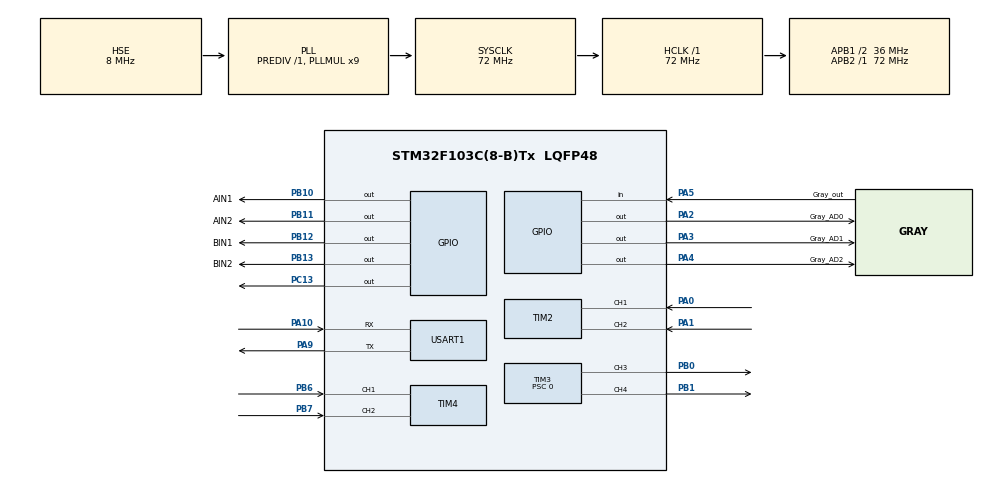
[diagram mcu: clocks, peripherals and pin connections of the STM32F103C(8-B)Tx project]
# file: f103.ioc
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Mcu.Family=STM32F1
Mcu.Name=STM32F103C(8-B)Tx
Mcu.Package=LQFP48
NVIC.PriorityGroup=NVIC_PRIORITYGROUP_4
PA0-WKUP.Signal=S_TIM2_CH1_ETR
PA1.Signal=S_TIM2_CH2
PA10.Mode=Asynchronous
PA10.Signal=USART1_RX
PA13.Mode=Serial_Wire
PA13.Signal=SYS_JTMS-SWDIO
PA14.Mode=Serial_Wire
PA14.Signal=SYS_JTCK-SWCLK
PA2.GPIO_Label=Gray_AD0
PA2.Signal=GPIO_Output
PA3.GPIO_Label=Gray_AD1
PA3.Signal=GPIO_Output
PA4.GPIO_Label=Gray_AD2
PA4.PinState=GPIO_PIN_RESET
PA4.Signal=GPIO_Output
PA5.GPIO_Label=Gray_out
PA5.Signal=GPIO_Input
PA9.Mode=Asynchronous
PA9.Signal=USART1_TX
PB0.Signal=S_TIM3_CH3
PB1.Signal=S_TIM3_CH4
PB10.GPIO_Label=AIN1
PB10.Signal=GPIO_Output
PB11.GPIO_Label=AIN2
PB11.Signal=GPIO_Output
PB12.GPIO_Label=BIN1
PB12.Signal=GPIO_Output
PB13.GPIO_Label=BIN2
PB13.Signal=GPIO_Output
PB6.Signal=S_TIM4_CH1
PB7.Signal=S_TIM4_CH2
PC13-TAMPER-RTC.Signal=GPIO_Output
PC14-OSC32_IN.Mode=LSE-External-Oscillator
PC14-OSC32_IN.Signal=RCC_OSC32_IN
PC15-OSC32_OUT.Mode=LSE-External-Oscillator
PC15-OSC32_OUT.Signal=RCC_OSC32_OUT
PD0-OSC_IN.Mode=HSE-External-Oscillator
PD0-OSC_IN.Signal=RCC_OSC_IN
PD1-OSC_OUT.Mode=HSE-External-Oscillator
PD1-OSC_OUT.Signal=RCC_OSC_OUT
ProjectManager.HeapSize=0x200
ProjectManager.StackSize=0x400
ProjectManager.TargetToolchain=MDK-ARM V5.32
RCC.AHBFreq_Value=72000000
RCC.APB1CLKDivider=RCC_HCLK_DIV2
RCC.APB1Freq_Value=36000000
RCC.APB1TimFreq_Value=72000000
RCC.APB2Freq_Value=72000000
RCC.APB2TimFreq_Value=72000000
RCC.HCLKFreq_Value=72000000
RCC.PLLMUL=RCC_PLL_MUL9
RCC.PLLSourceVirtual=RCC_PLLSOURCE_HSE
RCC.SYSCLKFreq_VALUE=72000000
RCC.SYSCLKSource=RCC_SYSCLKSOURCE_PLLCLK
RCC.USBFreq_Value=72000000
SH.S_TIM2_CH1_ETR.0=TIM2_CH1,Encoder_Interface
SH.S_TIM2_CH2.0=TIM2_CH2,Encoder_Interface
SH.S_TIM3_CH3.0=TIM3_CH3,PWM Generation3 CH3
SH.S_TIM3_CH4.0=TIM3_CH4,PWM Generation4 CH4
SH.S_TIM4_CH1.0=TIM4_CH1,Encoder_Interface
SH.S_TIM4_CH2.0=TIM4_CH2,Encoder_Interface
TIM2.EncoderMode=TIM_ENCODERMODE_TI12
TIM3.AutoReloadPreload=TIM_AUTORELOAD_PRELOAD_ENABLE
TIM3.Channel-PWM\ Generation3\ CH3=TIM_CHANNEL_3
TIM3.Channel-PWM\ Generation4\ CH4=TIM_CHANNEL_4
TIM3.OCMode_PWM-PWM\ Generation4\ CH4=TIM_OCMODE_PWM1
TIM3.Period=7199
TIM3.Prescaler=0
TIM4.EncoderMode=TIM_ENCODERMODE_TI12
USART1.VirtualMode=VM_ASYNC
VP_TIM3_VS_ClockSourceINT.Mode=Internal
board=custom

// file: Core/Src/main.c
/* USER CODE BEGIN Header */
/**
  ******************************************************************************
  * @file           : main.c
  * @brief          : Main program body
  ******************************************************************************
  * @attention
  *
  * Copyright (c) 2026 STMicroelectronics.
  * All rights reserved.
  *
  * This software is licensed under terms that can be found in the LICENSE file
  * in the root directory of this software component.
  * If no LICENSE file comes with this software, it is provided AS-IS.
  *
  ******************************************************************************
  */
/* USER CODE END Header */
#include "main.h"
#include "tim.h"
#include "usart.h"
#include "gpio.h"

/* USER CODE BEGIN Includes */
#include <stdio.h>
#include "bsp_motor.h"
#include "bsp_gray.h"
#include "app.h"
#include "bsp_encoder.h"
#include "bsp_oled.h"
#include "bsp_key.h"
#include "FreeRTOS.h"
#include "task.h"
#include "bsp_uart.h"
/* USER CODE END Includes */

void SystemClock_Config(void);

int main(void)
{

  /* MCU Configuration--------------------------------------------------------*/

  /* Reset of all peripherals, Initializes the Flash interface and the Systick. */
  HAL_Init();

  /* USER CODE BEGIN Init */
  HAL_SuspendTick();
  /* USER CODE END Init */

  /* Configure the system clock */
  SystemClock_Config();
  HAL_SuspendTick(); //成对存在

  /* Initialize all configured peripherals */
  MX_GPIO_Init();
  MX_USART1_UART_Init();
  MX_TIM3_Init();
  MX_TIM2_Init();
  MX_TIM4_Init();
  /* I2C1 外设已弃用: OLED 改走 PB3/PB4 软件 I2C, 见 BSP/bsp_oled.c */
  /* USER CODE BEGIN 2 */
  Motor_Init();
  Motor_StopAll();     /* 开始循迹前电机先停 */
  Gray_Init();
  App_Init();
  Encoder_Init();
  Key_Init();
  Uart_Init();

  /* 控制任务栈 256 word(1KB): 调用链里有 snprintf, 128 word(512B) 余量偏紧 */
  if(xTaskCreate(controlTask,"controlTask",256,NULL,2,NULL) != pdPASS)
  {
	printf("controlTask fail\r\n" );
	Error_Handler();
  }

  if(xTaskCreate(uartTask,"uartTask",192,NULL,1,NULL) != pdPASS)
  {
	printf("uart fail\r\n" );
	Error_Handler();
  }

  if(xTaskCreate(displayTask,"displayTask",192,NULL,1,NULL) != pdPASS)
  {
	printf("display fail\r\n" );
	Error_Handler();
  }
  vTaskStartScheduler();
  /* USER CODE END 2 */

  /* Infinite loop */

  while (1)
  {

  }
}

void SystemClock_Config(void)
{
  RCC_OscInitTypeDef RCC_OscInitStruct = {0};
  RCC_ClkInitTypeDef RCC_ClkInitStruct = {0};

  /** Initializes the RCC Oscillators according to the specified parameters
  * in the RCC_OscInitTypeDef structure.
  */
  RCC_OscInitStruct.OscillatorType = RCC_OSCILLATORTYPE_HSE;
  RCC_OscInitStruct.HSEState = RCC_HSE_ON;
  RCC_OscInitStruct.HSEPredivValue = RCC_HSE_PREDIV_DIV1;
  RCC_OscInitStruct.HSIState = RCC_HSI_ON;
  RCC_OscInitStruct.PLL.PLLState = RCC_PLL_ON;
  RCC_OscInitStruct.PLL.PLLSource = RCC_PLLSOURCE_HSE;
  RCC_OscInitStruct.PLL.PLLMUL = RCC_PLL_MUL9;
  if (HAL_RCC_OscConfig(&RCC_OscInitStruct) != HAL_OK)
  {
    Error_Handler();
  }

  /** Initializes the CPU, AHB and APB buses clocks
  */
  RCC_ClkInitStruct.ClockType = RCC_CLOCKTYPE_HCLK|RCC_CLOCKTYPE_SYSCLK
                              |RCC_CLOCKTYPE_PCLK1|RCC_CLOCKTYPE_PCLK2;
  RCC_ClkInitStruct.SYSCLKSource = RCC_SYSCLKSOURCE_PLLCLK;
  RCC_ClkInitStruct.AHBCLKDivider = RCC_SYSCLK_DIV1;
  RCC_ClkInitStruct.APB1CLKDivider = RCC_HCLK_DIV2;
  RCC_ClkInitStruct.APB2CLKDivider = RCC_HCLK_DIV1;

  if (HAL_RCC_ClockConfig(&RCC_ClkInitStruct, FLASH_LATENCY_2) != HAL_OK)
  {
    Error_Handler();
  }
}

/* USER CODE BEGIN 4 */
int fputc(int ch, FILE *f)
{
    /* 直接写寄存器, 纯空转等 TXE, 不依赖 HAL_GetTick 超时 */
    uint32_t guard = 0;
    while (!(USART1->SR & USART_SR_TXE) && ++guard < 100000)
    {
    }
    USART1->DR = (uint8_t)ch;
    return ch;
}
/* USER CODE END 4 */

void Error_Handler(void)
{
  __disable_irq();
  while (1)
  {
  }
}
